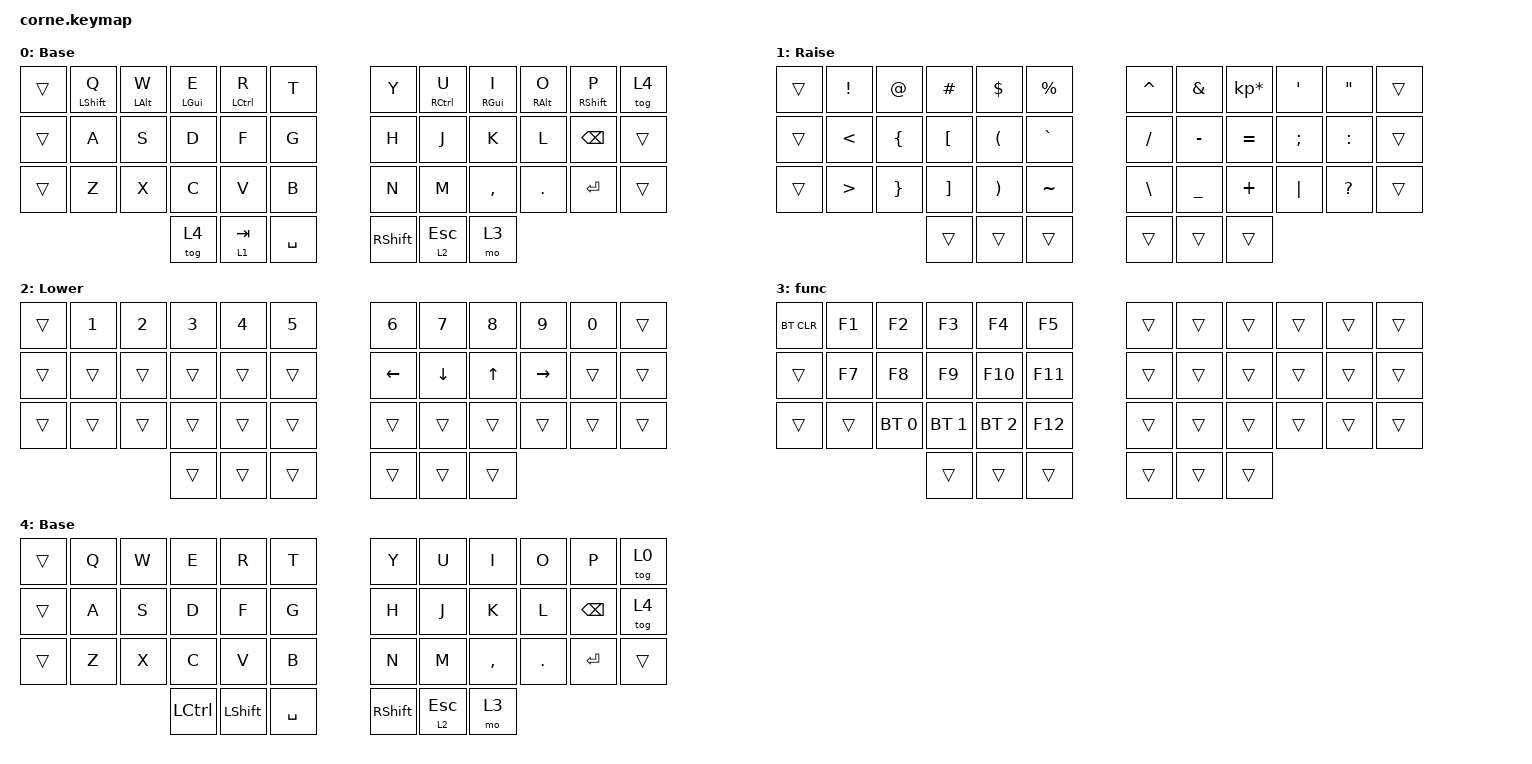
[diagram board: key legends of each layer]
/*
 * Copyright (c) 2020 The ZMK Contributors
 *
 * SPDX-License-Identifier: MIT
 */

#include <behaviors.dtsi>
#include <dt-bindings/zmk/bt.h>
#include <dt-bindings/zmk/keys.h>

/ {
    behaviors {
        HRML: HRML {
            compatible = "zmk,behavior-hold-tap";
            label = "HRML";
            bindings = <&kp>, <&kp>;

            #binding-cells = <2>;
            tapping-term-ms = <280>;
            hold-trigger-key-positions = <39 40 30 18 7 6 19 31 32 20 8 9 33 21 22 22 34 10 11 23 35 41>;
            hold-trigger-on-release;
            flavor = "balanced";
            quick-tap-ms = <175>;
            require-prior-idle-ms = <150>;
        };

        HRMR: HRMR {
            compatible = "zmk,behavior-hold-tap";
            label = "HRMR";
            bindings = <&kp>, <&kp>;

            #binding-cells = <2>;
            tapping-term-ms = <280>;
            hold-trigger-on-release;
            hold-trigger-key-positions = <0 1 2 3 4 5 12 13 14 15 16 17 24 25 26 27 28 29 36 37 38>;
            quick-tap-ms = <175>;
            require-prior-idle-ms = <150>;
            flavor = "balanced";
        };
    };

    keymap {
        compatible = "zmk,keymap";

        default_layer {
            // -----------------------------------------------------------------------------------------
            // |  TAB |  Q  |  W  |  E  |  R  |  T  |   |  Y  |  U   |  I  |  O  |  P  | BKSP |
            // | CTRL |  A  |  S  |  D  |  F  |  G  |   |  H  |  J   |  K  |  L  |  ;  |  '   |
            // | SHFT |  Z  |  X  |  C  |  V  |  B  |   |  N  |  M   |  ,  |  .  |  /  | ESC  |
            //                    | GUI | LWR | SPC |   | ENT | RSE  | ALT |

            display-name = "Base";
            bindings = <
&trans  &HRML LSHIFT Q  &HRML LEFT_ALT W  &HRML LEFT_GUI E  &HRML LCTRL R  &kp T        &kp Y            &HRMR RCTRL U  &HRMR RIGHT_GUI I  &HRMR RIGHT_ALT O  &HRMR RSHIFT P  &tog 4
&trans  &kp A           &kp S             &kp D             &kp F          &kp G        &kp H            &kp J          &kp K              &kp L              &kp BACKSPACE   &trans
&trans  &kp Z           &kp X             &kp C             &kp V          &kp B        &kp N            &kp M          &kp COMMA          &kp PERIOD         &kp ENTER       &trans
                                          &tog 4            &lt 1 TAB      &kp SPACE    &kp RIGHT_SHIFT  &lt 2 ESCAPE   &mo 3
            >;
        };

        left_layer {
            // -----------------------------------------------------------------------------------------
            // |  TAB |  !  |  @  |  #  |  $  |  %  |   |  ^  |  &  |  *  |  (  |  )  | BKSP |
            // | CTRL |     |     |     |     |     |   |  -  |  =  |  [  |  ]  |  \  |  `   |
            // | SHFT |     |     |     |     |     |   |  _  |  +  |  {  |  }  | "|" |  ~   |
            //                    | GUI |     | SPC |   | ENT |     | ALT |

            display-name = "Raise";
            bindings = <
&trans  &kp EXCL          &kp AT           &kp HASH           &kp DLLR              &kp PRCNT    &kp CARET      &kp AMPS   &kp KP_MULTIPLY  &kp SINGLE_QUOTE  &kp DOUBLE_QUOTES  &trans
&trans  &kp LESS_THAN     &kp LEFT_BRACE   &kp LEFT_BRACKET   &kp LEFT_PARENTHESIS  &kp GRAVE    &kp SLASH      &kp MINUS  &kp EQUAL        &kp SEMI          &kp COLON          &trans
&trans  &kp GREATER_THAN  &kp RIGHT_BRACE  &kp RIGHT_BRACKET  &kp RPAR              &kp TILDE    &kp BACKSLASH  &kp UNDER  &kp PLUS         &kp PIPE          &kp QUESTION       &trans
                                           &trans             &trans                &trans       &trans         &trans     &trans
            >;
        };

        right_layer {
            // -----------------------------------------------------------------------------------------
            // |  TAB |  1  |  2  |  3  |  4  |  5  |   |  6  |  7  |  8  |  9  |  0  | BKSP |
            // | BTCLR| BT1 | BT2 | BT3 | BT4 | BT5 |   | LFT | DWN |  UP | RGT |     |      |
            // | SHFT |     |     |     |     |     |   |     |     |     |     |     |      |
            //                    | GUI |     | SPC |   | ENT |     | ALT |

            display-name = "Lower";
            bindings = <
&trans  &kp N1  &kp N2  &kp N3  &kp N4  &kp N5    &kp N6    &kp N7    &kp N8        &kp N9     &kp N0  &trans
&trans  &trans  &trans  &trans  &trans  &trans    &kp LEFT  &kp DOWN  &kp UP_ARROW  &kp RIGHT  &trans  &trans
&trans  &trans  &trans  &trans  &trans  &trans    &trans    &trans    &trans        &trans     &trans  &trans
                        &trans  &trans  &trans    &trans    &trans    &trans
            >;
        };

        func {
            bindings = <
&bt BT_CLR  &kp F1  &kp F2        &kp F3        &kp F4        &kp F5     &trans  &trans  &trans  &trans  &trans  &trans
&trans      &kp F7  &kp F8        &kp F9        &kp F10       &kp F11    &trans  &trans  &trans  &trans  &trans  &trans
&trans      &trans  &bt BT_SEL 0  &bt BT_SEL 1  &bt BT_SEL 2  &kp F12    &trans  &trans  &trans  &trans  &trans  &trans
                                  &trans        &trans        &trans     &trans  &trans  &trans
            >;
        };

        deadlock {
            display-name = "Base";
            bindings = <
&trans  &kp Q  &kp W  &kp E      &kp R           &kp T        &kp Y            &kp U         &kp I      &kp O       &kp P          &tog 0
&trans  &kp A  &kp S  &kp D      &kp F           &kp G        &kp H            &kp J         &kp K      &kp L       &kp BACKSPACE  &tog 4
&trans  &kp Z  &kp X  &kp C      &kp V           &kp B        &kp N            &kp M         &kp COMMA  &kp PERIOD  &kp ENTER      &trans
                      &kp LCTRL  &kp LEFT_SHIFT  &kp SPACE    &kp RIGHT_SHIFT  &lt 2 ESCAPE  &mo 3
            >;
        };
    };
};
